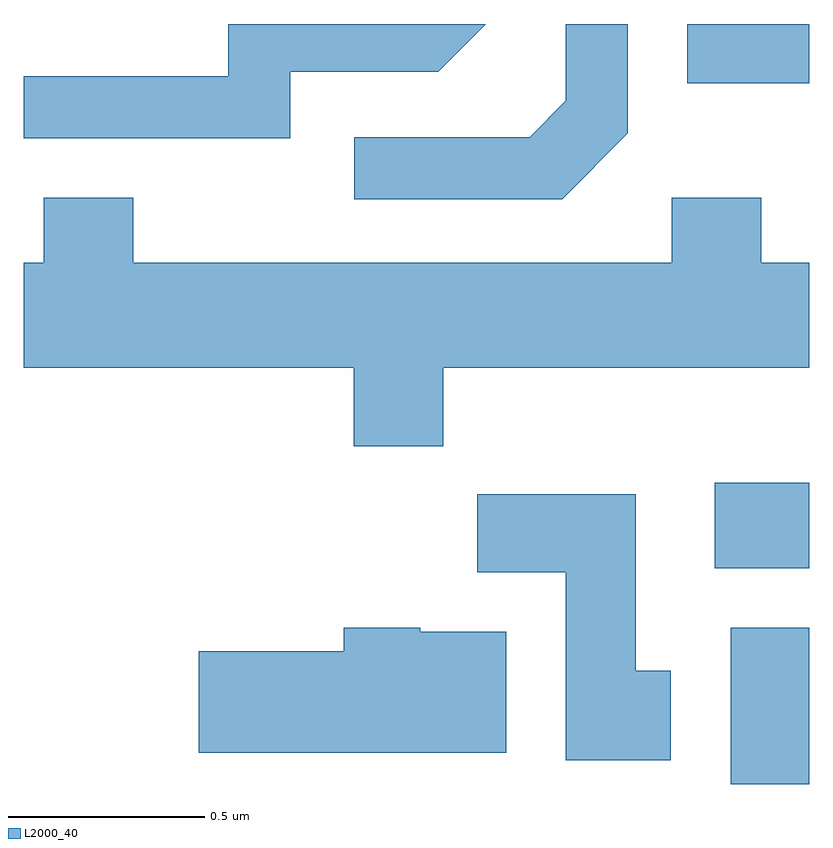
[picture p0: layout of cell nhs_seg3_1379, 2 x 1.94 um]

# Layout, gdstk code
import gdstk
lib = gdstk.Library(unit=1e-6, precision=1e-09)
def R(c, l, rs):  # rectangles x0, y0, x1, y1
    for r in rs: c.add(gdstk.rectangle(r[:2], r[2:], *l))
def P(c, l, *ps):  # polygons
    for p in ps: c.add(gdstk.Polygon(p, *l))
L2000_40 = (2000, 40)

nhs_seg3_1379 = lib.new_cell('nhs_seg3_1379')
R(nhs_seg3_1379, L2000_40, [(197.411,1124.956,197.611,1125.354), (197.371,1125.506,197.611,1125.724), (197.301,1126.741,197.611,1126.892)])
P(nhs_seg3_1379, L2000_40, [(196.289,1126.771),(196.667,1126.771),(196.787,1126.892),(196.131,1126.892),(196.131,1126.759),(195.611,1126.759),(195.611,1126.601),(196.289,1126.601)],
  [(197.149,1126.614),(197.149,1126.892),(196.991,1126.892),(196.991,1126.697),(196.899,1126.604),(196.453,1126.604),(196.453,1126.446),(196.982,1126.446)],
  [(196.679,1126.016),(197.611,1126.016),(197.611,1126.284),(197.489,1126.284),(197.489,1126.449),(197.261,1126.449),(197.261,1126.284),(195.889,1126.284),(195.889,1126.449),(195.661,1126.449),(195.661,1126.284),(195.611,1126.284),(195.611,1126.016),(196.451,1126.016),(196.451,1125.816),(196.679,1125.816)],
  [(197.259,1125.244),(197.169,1125.244),(197.169,1125.694),(196.766,1125.694),(196.766,1125.496),(196.991,1125.496),(196.991,1125.016),(197.259,1125.016)],
  [(196.839,1125.344),(196.62,1125.344),(196.62,1125.354),(196.426,1125.354),(196.426,1125.294),(196.056,1125.294),(196.056,1125.036),(196.839,1125.036)])

lib.write_gds('nhs_seg3_1379.gds')
